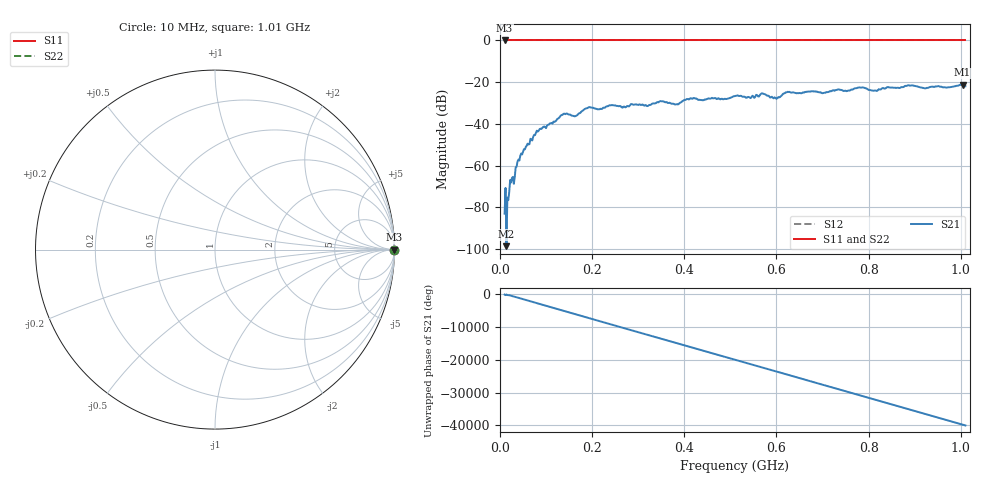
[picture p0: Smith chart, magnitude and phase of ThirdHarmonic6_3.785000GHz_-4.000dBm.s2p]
! 8/17/2025 1:03:29 PM
! C:\ANRITSUVNA\TEMP\TEMP.S2P
! CHANNEL.1
! TR.MEASUREMENT
! RAW.DATA
! RF.CORRECTION.OFF
! AVERAGING.OFF
! IF.BANDWIDTH: 5KHZ
! SWEEPTYPE:  FREQ.SWEEP(Linear)
! Reference Plane Port Info
! PORT:  PORT1  PORT2
! DISTANCE:  0  m  0  m
! TIME:  0  s  0  s
! PHASE.OFFSET:  0  deg.  0  deg.
! LOSS:  0  dB  0  dB
! REF.LOSS:  0  dB  0  dB
! REF.FREQ:  0  Hz  0  Hz
! Power Info
! POWER:  -20  dBm  -20  dBm
! EFF.POWER:  -20  dBm  -20  dBm
! SOURCE.ATTEN:  0  dB  0  dB
! TEST.ATTEN:  0  dB  0  dB
# GHZ S RI R 50.0
! FREQ.GHZ  S11RE  S11IM  S21RE  S21IM  S12RE  S12IM  S22RE  S22IM
!; PortSelection: Port_12
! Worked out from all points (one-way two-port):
!   501 points, 10 MHz to 1.01 GHz, reference 50 ohm
!   highest |S21| = -21.25 dB at 1.004 GHz (marker M1); lowest = -98.7 dB at 14 MHz (marker M2)
!   lowest |S11| = 0.0 dB at 10 MHz (marker M3)
!   |S11| at or under -10 dB: nowhere
!   |S22| runs from 0.0 to 0.0 dB; largest |S21 - S12| = 1.1
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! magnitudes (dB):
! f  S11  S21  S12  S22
! 10 MHz  0.0  -83.1  0.0  0.0
! 14 MHz  0.0  -98.7  0.0  0.0
! 24 MHz  0.0  -68.1  0.0  0.0
! 32 MHz  0.0  -65.6  0.0  0.0
! 42 MHz  0.0  -57.6  0.0  0.0
! 76 MHz  0.0  -45.4  0.0  0.0
! 136 MHz  0.0  -35.6  0.0  0.0
! 164 MHz  0.0  -36.3  0.0  0.0
! 178 MHz  0.0  -33.9  0.0  0.0
! 194 MHz  0.0  -32.0  0.0  0.0
! 322 MHz  0.0  -31.2  0.0  0.0
! 344 MHz  0.0  -29.7  0.0  0.0
! 384 MHz  0.0  -30.6  0.0  0.0
! 416 MHz  0.0  -27.9  0.0  0.0
! 510 MHz  0.0  -26.7  0.0  0.0
! 570 MHz  0.0  -25.4  0.0  0.0
! 598 MHz  0.0  -27.7  0.0  0.0
! 624 MHz  0.0  -24.6  0.0  0.0
! 678 MHz  0.0  -24.3  0.0  0.0
! 844 MHz  0.0  -22.5  0.0  0.0
! 1.004 GHz  0.0  -21.3  0.0  0.0
! 1.01 GHz  0.0  -21.9  0.0  0.0
